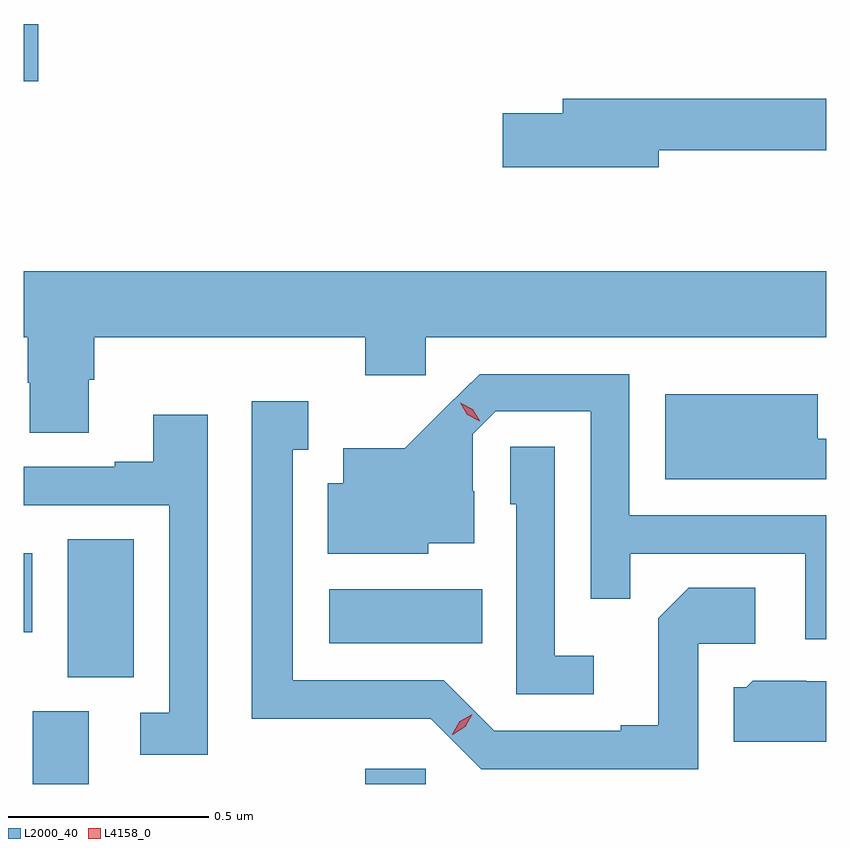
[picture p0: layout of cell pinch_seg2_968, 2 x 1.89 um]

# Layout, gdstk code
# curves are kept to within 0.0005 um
import gdstk
lib = gdstk.Library(unit=1e-6, precision=1e-09)
def R(c, l, rs):  # rectangles x0, y0, x1, y1
    for r in rs: c.add(gdstk.rectangle(r[:2], r[2:], *l))
def P(c, l, *ps):  # polygons
    for p in ps: c.add(gdstk.Polygon(p, *l))
L2000_40 = (2000, 40)
L4158_0 = (4158, 0)

pinch_seg2_968 = lib.new_cell('pinch_seg2_968')
R(pinch_seg2_968, L2000_40, [(326.891,646.523,327.031,646.704), (327.719,646.523,327.87,646.561), (326.978,646.789,327.142,647.132), (327.63,646.874,328.01,647.008), (326.868,646.901,326.89,647.098), (326.868,648.274,326.905,648.416)])
P(pinch_seg2_968, L2000_40, [(328.45,648.102),(328.868,648.102),(328.868,648.23),(328.211,648.23),(328.211,648.194),(328.062,648.194),(328.062,648.059),(328.45,648.059)],
  [(327.031,647.53),(327.044,647.53),(327.044,647.636),(327.719,647.636),(327.719,647.541),(327.87,647.541),(327.87,647.636),(328.868,647.636),(328.868,647.8),(326.868,647.8),(326.868,647.636),(326.879,647.636),(326.879,647.523),(326.884,647.523),(326.884,647.398),(327.031,647.398)],
  [(328.868,647.193),(328.377,647.193),(328.377,647.544),(328.004,647.544),(327.817,647.359),(327.665,647.359),(327.665,647.272),(327.626,647.272),(327.626,647.096),(327.876,647.096),(327.876,647.123),(327.991,647.123),(327.991,647.252),(327.987,647.252),(327.987,647.394),(328.044,647.451),(328.281,647.451),(328.281,646.984),(328.379,646.984),(328.379,647.097),(328.815,647.097),(328.815,646.884),(328.868,646.884)],
  [(328.868,647.383),(328.846,647.383),(328.846,647.494),(328.466,647.494),(328.466,647.282),(328.868,647.282)],
  [(328.548,646.872),(328.69,646.872),(328.69,647.012),(328.525,647.012),(328.449,646.936),(328.449,646.669),(328.355,646.669),(328.355,646.656),(328.041,646.656),(327.915,646.782),(327.538,646.782),(327.538,647.355),(327.577,647.355),(327.577,647.476),(327.437,647.476),(327.437,646.685),(327.66,646.685),(327.66,646.686),(327.882,646.686),(328.008,646.56),(328.548,646.56)],
  [(327.327,647.443),(327.191,647.443),(327.191,647.326),(327.095,647.326),(327.095,647.313),(326.868,647.313),(326.868,647.217),(327.231,647.217),(327.231,646.701),(327.159,646.701),(327.159,646.596),(327.327,646.596)],
  [(328.288,646.843),(328.191,646.843),(328.191,647.363),(328.08,647.363),(328.08,647.22),(328.095,647.22),(328.095,646.746),(328.288,646.746)],
  [(328.868,646.779),(328.818,646.779),(328.818,646.78),(328.684,646.78),(328.668,646.764),(328.637,646.764),(328.637,646.628),(328.868,646.628)])
P(pinch_seg2_968, L4158_0, [(328.004,647.427),(327.973,647.443),(327.956,647.473),(327.956,647.473),(327.956,647.473),(327.987,647.457),(328.004,647.428),(328.004,647.427)],
  [(327.936,646.646),(327.936,646.647),(327.954,646.679),(327.986,646.697),(327.986,646.697),(327.986,646.697),(327.968,646.665),(327.937,646.646)])

lib.write_gds('pinch_seg2_968.gds')
